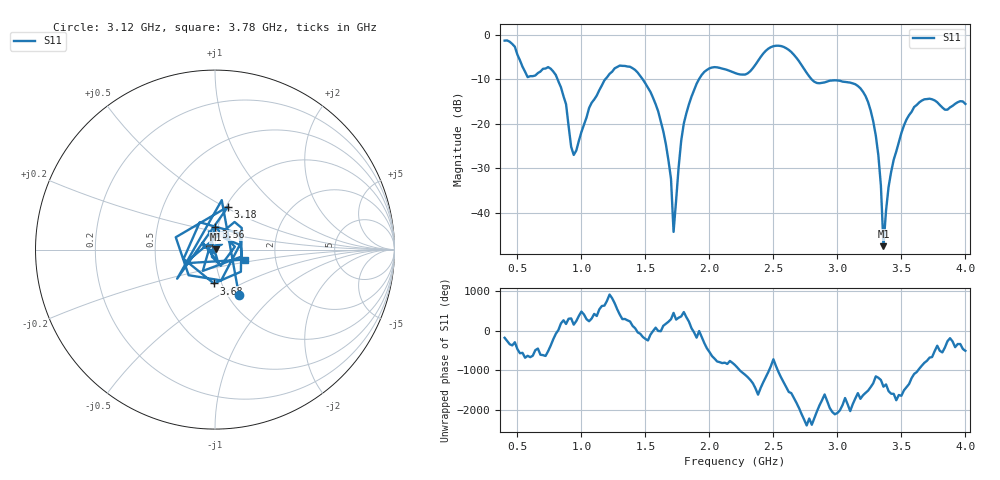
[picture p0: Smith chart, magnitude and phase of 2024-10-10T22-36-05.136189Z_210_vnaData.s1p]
! Created with skrf (http://scikit-rf.org).
# Hz S RI R 50.0
!freq ReS11 ImS11
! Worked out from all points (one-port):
!   181 points, 400 MHz to 4 GHz, reference 50 ohm
!   lowest |S11| = -47.5 dB at 3.36 GHz (marker M1), VSWR 1.01, Z = 50.4 + j0.153 ohm
!   |S11| at or under -10 dB: 813.7 MHz to 1.186 GHz (372.7 MHz wide, 37.3 % of centre); 1.479 GHz to 1.918 GHz (439.1 MHz wide, 25.9 % of centre); 2.798 GHz to end of sweep
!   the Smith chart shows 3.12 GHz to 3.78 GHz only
!   S11 on the Smith chart (normalised r, x): 3.12 GHz: 1.13, -0.62; 3.18 GHz: 1.02, +0.52; 3.56 GHz: 0.97, +0.25; 3.68 GHz: 0.92, -0.36; 3.78 GHz: 1.39, -0.16
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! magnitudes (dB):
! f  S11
! 400 MHz  -1.3
! 580 MHz  -9.5
! 760 MHz  -7.6
! 860 MHz  -13.8
! 940 MHz  -27.0
! 1.08 GHz  -15.3
! 1.3 GHz  -6.9
! 1.6 GHz  -17.2
! 1.7 GHz  -32.3
! 1.72 GHz  -44.3
! 1.76 GHz  -29.6
! 1.8 GHz  -19.9
! 1.92 GHz  -9.9
! 2.2 GHz  -8.6
! 2.5 GHz  -2.6
! 2.66 GHz  -4.5
! 2.82 GHz  -10.6
! 3.1 GHz  -10.7
! 3.12 GHz  -10.9
! 3.18 GHz  -12.0
! 3.3 GHz  -22.6
! 3.34 GHz  -33.9
! 3.36 GHz  -47.5
! 3.42 GHz  -30.8
! 3.56 GHz  -18.0
! 3.68 GHz  -14.5
! 3.78 GHz  -15.2
! 4 GHz  -15.5
